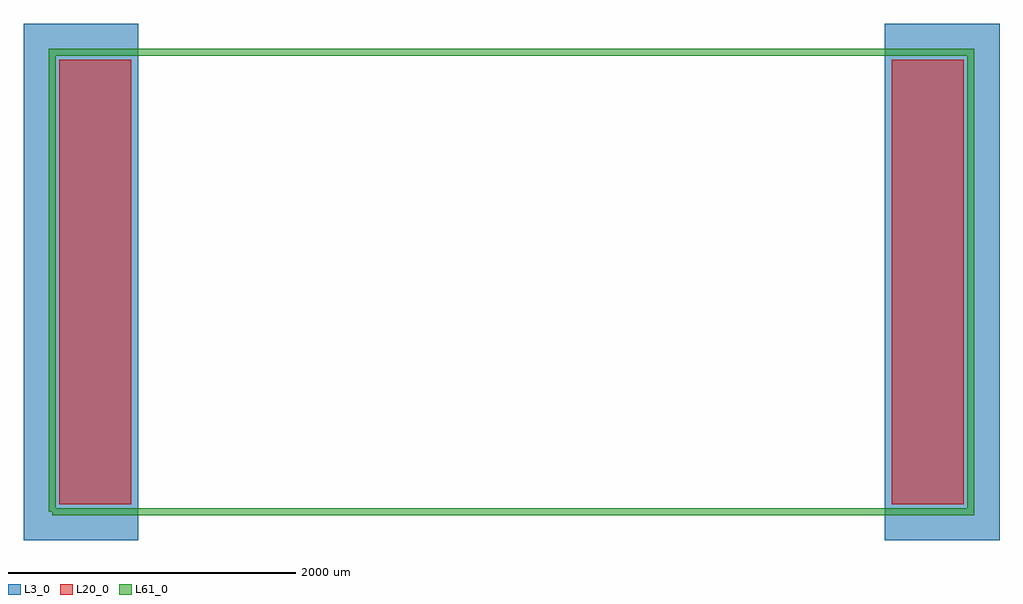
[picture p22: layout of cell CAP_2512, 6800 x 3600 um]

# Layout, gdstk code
import gdstk
lib = gdstk.Library(unit=1e-6, precision=1e-09)
def R(c, l, rs):  # rectangles x0, y0, x1, y1
    for r in rs: c.add(gdstk.rectangle(r[:2], r[2:], *l))
L3_0 = (3, 0)
L20_0 = (20, 0)
L61_0 = (61, 0)

cap_2512 = lib.new_cell('CAP_2512')
R(cap_2512, L3_0, [(-200,-200,600,3400), (5800,-200,6600,3400)])
R(cap_2512, L20_0, [(50,50,550,3150), (5850,50,6350,3150)])
cap_2512.add(gdstk.FlexPath([(0,0),(6400,0),(6400,3200),(0,3200),(0,0)], 50, ends="flush", simple_path=True, layer=61, datatype=0))  # L61_0

lib.write_gds('CAP_2512.gds')
